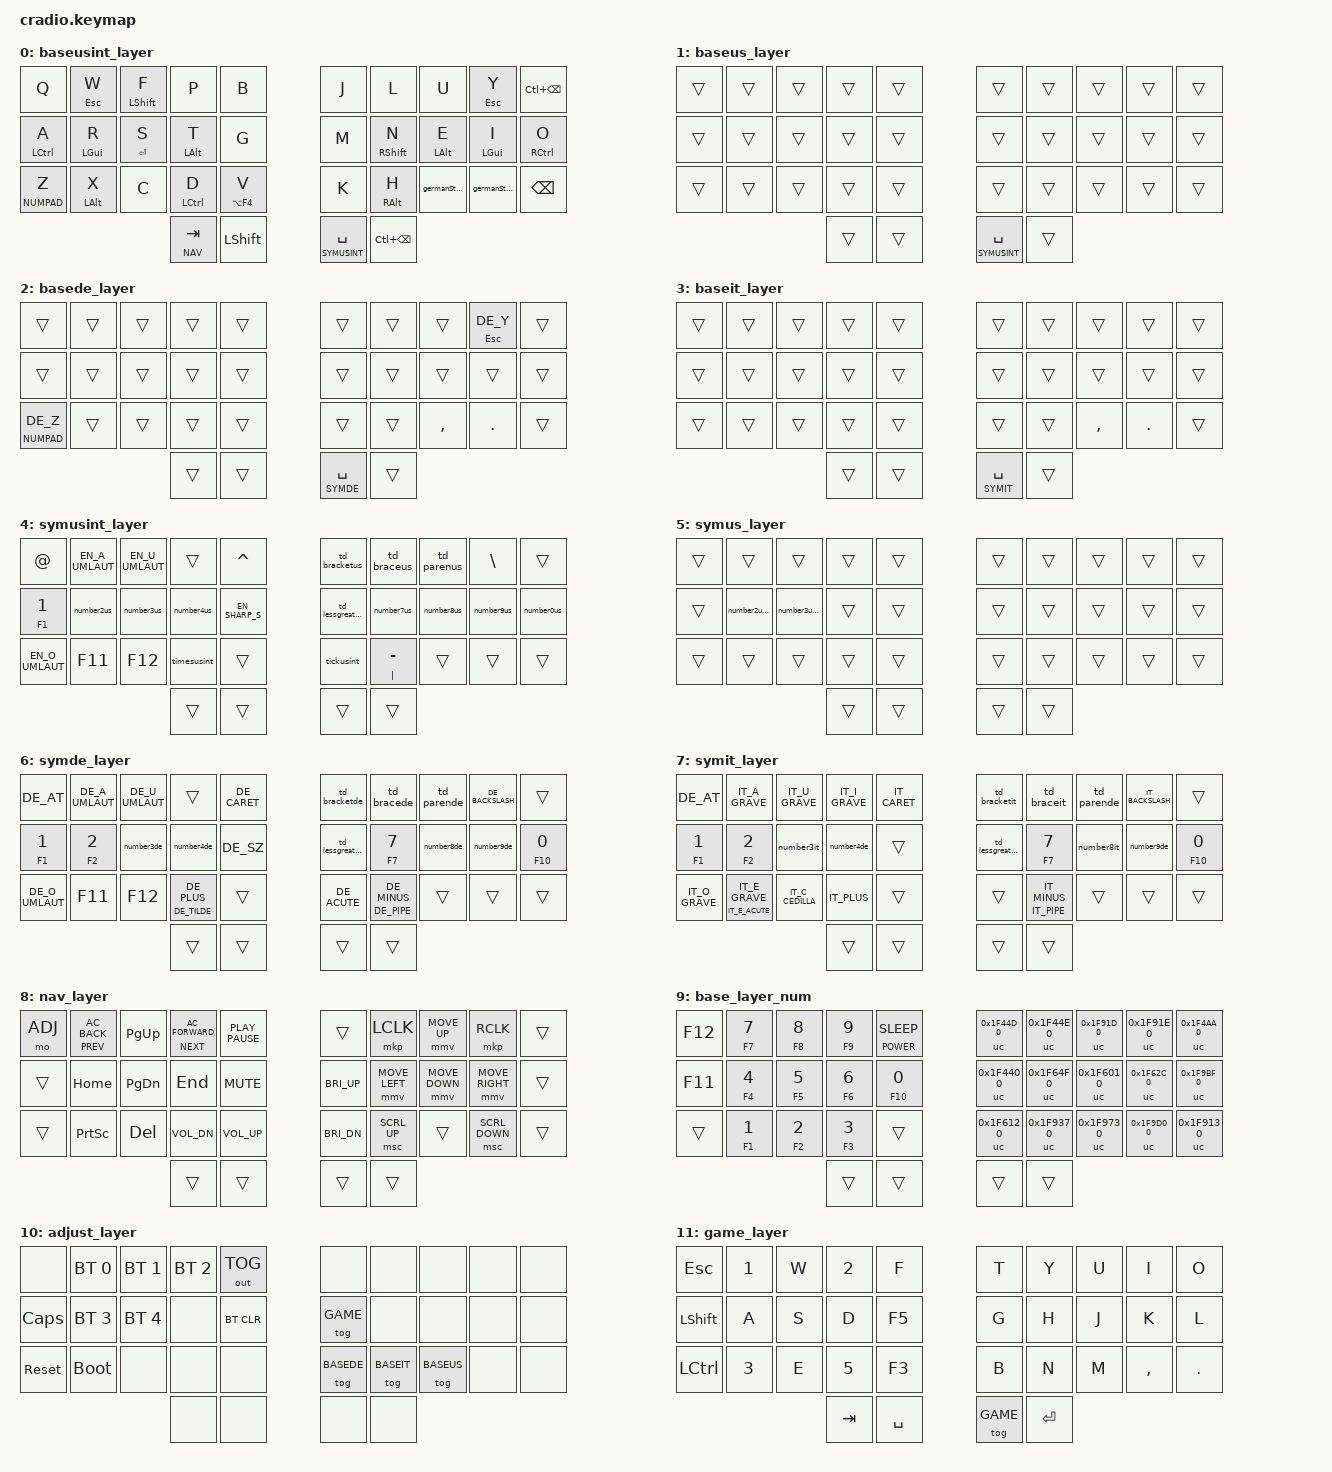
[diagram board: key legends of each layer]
/*
 * Copyright (c) 2020 The ZMK Contributors
 *
 * SPDX-License-Identifier: MIT
 */
#define ZMK_POINTING_DEFAULT_MOVE_VAL 1500  // default: 600

#include <behaviors/mouse_keys.dtsi>
#include <behaviors/unicode.dtsi>            //unicode

#include <dt-bindings/zmk/bt.h>
#include <dt-bindings/zmk/keys.h>
#include <dt-bindings/zmk/mouse.h>
#include <dt-bindings/zmk/outputs.h>
#include <dt-bindings/zmk/ext_power.h>

#include <behaviors.dtsi>

#include "keys_de.h"
#include "keys_it.h"
#include "keys_us_international.h"


#include <zmk-unicode/keys-full.h>   // All glyphs including CJK
&uc {
  default-mode = <UC_MODE_LINUX>;  // Default to Linux input system
  minimum-length = <0>;            // Set to desired minimum input length
  linux-key = <LC(LS(U))>;         // Overwrite Linux compose key
};




#define XXX &none
#define ___ &trans

#define BASEUSINT 0
#define BASEUS 1
#define BASEDE 2
#define BASEIT 3
#define SYMUSINT 4
#define SYMUS 5
#define SYMDE 6
#define SYMIT 7
#define NAV 8
#define NUMPAD 9
#define ADJ 10
#define GAME 11


#define arrowcombotime 10

/ {

            /*                KEY POSITIONS
  ╭────────────────────╮ ╭────────────────────╮
  │  0   1   2   3   4 │ │  5   6   7   8   9 │
  │ 10  11  12  13  14 │ │ 15  16  17  18  19 │
  │ 20  21  22  23  24 │ │ 25  26  27  28  29 │
  ╰───────────╮ 30  31 │ │ 32  33 ╭───────────╯
              ╰────────╯ ╰────────╯            */


    combos {
        compatible = "zmk,combos";
            combo_five {
            timeout-ms = <50>;
            key-positions = <3 13>;
            bindings = <&kp N5>;
            layers = <BASEUSINT BASEUS BASEDE BASEIT SYMUSINT SYMUS SYMDE SYMIT>;
        };
            combo_sixde {
            timeout-ms = <50>;
            key-positions = <6 16>;
            bindings = <&kp N6>;
            layers = <BASEDE BASEIT SYMDE SYMIT>;
        };
            combo_sixus {
            timeout-ms = <50>;
            key-positions = <6 16>;
            bindings = <&number6us>; // LS(6)->&
            layers = <BASEUSINT BASEUS SYMUSINT SYMUS>;
        };
            combo_up {
            timeout-ms = <arrowcombotime>;
            key-positions = <11 12 13>;
            bindings = <&kp UP>;
        };
            combo_down {
            timeout-ms = <arrowcombotime>;
            key-positions = <11 13>;
            bindings = <&kp DOWN>;
        };
            combo_right {
            timeout-ms = <arrowcombotime>;
            key-positions = <12 13>;
            bindings = <&kp RIGHT>;
        };
            combo_left {
            timeout-ms = <arrowcombotime>;
            key-positions = <11 12>;
            bindings = <&kp LEFT>;
        };

        combo_uprhand {
            timeout-ms = <arrowcombotime>;
            key-positions = <16 17 18>;
            bindings = <&kp UP>;
        };
            combo_downrhand {
            timeout-ms = <arrowcombotime>;
            key-positions = <16 18>;
            bindings = <&kp DOWN>;
        };
            combo_rightrhand {
            timeout-ms = <arrowcombotime>;
            key-positions = <17 18>;
            bindings = <&kp RIGHT>;
        };
            combo_leftrhand {
            timeout-ms = <arrowcombotime>;
            key-positions = <16 17>;
            bindings = <&kp LEFT>;
        };

            combo_sqtus {
            timeout-ms = <10>;
            key-positions = <2 12>;
            layers = <BASEUS SYMUS>;
            bindings = <&kp SQT>;
        };
            combo_sqtusint {
            timeout-ms = <10>;
            key-positions = <2 12>;
            layers  = <BASEUSINT SYMUSINT>;
            bindings = <&sqtspace>;
        };
            combo_sqtde {
            timeout-ms = <10>;
            key-positions = <2 12>;
            layers = <BASEDE SYMDE>;
            bindings = <&kp DE_SQT>;
        };
            combo_sqtit {
            timeout-ms = <10>;
            key-positions = <2 12>;
            layers = <BASEIT SYMIT>;
            bindings = <&kp IT_SQT>;
        };

    };


            //US base inherits from us int layer. Most stays except ' "
            // instead of that we can also just copy all the stuff that could be the same likeh we do it in the italian layer.
            // There we use some german numbers in SYMIT. Both approaches are possible and valid.
            // "When configured as a then-layer, a layer's activation status is entirely controlled by the conditional layers"
    conditional_layers {
        compatible = "zmk,conditional-layers";
        tri_layer {
            if-layers = <BASEUS SYMUSINT>;
            then-layer = <SYMUS>;
        };
    };



//macros

macros {
            //[]
    bracketde: bracketde {
    compatible = "zmk,behavior-macro";
    #binding-cells = <0>;
    bindings
        = <&macro_tap &kp DE_LEFT_BRACKET &kp DE_RIGHT_BRACKET &kp LEFT>
        ;
    };
            //{}
    bracede: bracede {
    compatible = "zmk,behavior-macro";
    #binding-cells = <0>;
    bindings
        = <&macro_tap &kp DE_LEFT_BRACE &kp DE_RIGHT_BRACE &kp LEFT>
        ;
    };
            //()
    parende: parende {
    compatible = "zmk,behavior-macro";
    #binding-cells = <0>;
    bindings
        = <&macro_tap &kp DE_LEFT_PARENTHESIS &kp DE_RIGHT_PARENTHESIS &kp LEFT>
        ;
    };
            //<>
    lessgreaterde: lessgreaterde {
    compatible = "zmk,behavior-macro";
    #binding-cells = <0>;
    bindings
        = <&macro_tap &kp DE_LESS_THAN &kp DE_GREATER_THAN &kp LEFT>
        ;
    };
            //[]
    bracketus: bracketus {
    compatible = "zmk,behavior-macro";
    #binding-cells = <0>;
    bindings
        = <&macro_tap &kp LEFT_BRACKET &kp RIGHT_BRACKET &kp LEFT>
        ;
    };
            //{}
    braceus: braceus {
    compatible = "zmk,behavior-macro";
    #binding-cells = <0>;
    bindings
        = <&macro_tap &kp LEFT_BRACE &kp RIGHT_BRACE &kp LEFT>
        ;
    };
            //{}
    braceit: braceit {
    compatible = "zmk,behavior-macro";
    #binding-cells = <0>;
    bindings
        = <&macro_tap &kp IT_LEFT_BRACE &kp IT_RIGHT_BRACE &kp LEFT>
        ;
    };
            //()
    parenus: parenus {
    compatible = "zmk,behavior-macro";
    #binding-cells = <0>;
    bindings
        = <&macro_tap &kp LEFT_PARENTHESIS &kp RIGHT_PARENTHESIS &kp LEFT>
        ;
    };
            //[]
    bracketit: bracketit {
    compatible = "zmk,behavior-macro";
    #binding-cells = <0>;
    bindings
        = <&macro_tap &kp IT_LEFT_BRACKET &kp IT_RIGHT_BRACKET &kp LEFT>
        ;
    };
            //<>
    lessgreaterus: lessgreaterus {
    compatible = "zmk,behavior-macro";
    #binding-cells = <0>;
    bindings
        = <&macro_tap &kp LT &kp GT &kp LEFT>
        ;
    };
            // grave space`
    gravespace: gravespace {
    compatible = "zmk,behavior-macro";
    #binding-cells = <0>;
    bindings 
        = <&macro_tap &kp GRAVE &kp SPC> 
        ;
    };
    sqtspace: sqtspace {
    compatible = "zmk,behavior-macro";
    #binding-cells = <0>;
    bindings 
        = <&macro_tap &kp SQT &kp SPC> 
        ;
    };
    dqtspace: dqtspace {
    compatible = "zmk,behavior-macro";
    #binding-cells = <0>;
    bindings 
        = <&macro_tap &kp DQT &kp SPC> 
        ;
    };


};



 


//mod morph
 
    behaviors {
        //home row mods

        hm: hm {
            compatible = "zmk,behavior-hold-tap";
            #binding-cells = <2>;
            flavor = "tap-preferred";
            tapping-term-ms = <200>;
            quick-tap-ms = <200>;
            global-quick-tap;
            require-prior-idle-ms = <125>;
            bindings = <&kp>, <&kp>;
        };
        hmhold: hmhold {
            compatible = "zmk,behavior-hold-tap";
            #binding-cells = <2>;
            flavor = "hold-preferred";
            tapping-term-ms = <200>;
            bindings = <&mo>, <&kp>;
        };
        //mod morph
            // SL(.)->:
        germanStyleDot: germanStyleDot {
            compatible = "zmk,behavior-mod-morph";
            #binding-cells = <0>;
            bindings = <&kp DOT>, <&kp COLON>;
            mods = <(MOD_LSFT|MOD_RSFT)>;
        };
            // SL(,)->;
        germanStyeComma: germanStyeComma {
            compatible = "zmk,behavior-mod-morph";
            #binding-cells = <0>;
            bindings = <&kp COMMA>, <&kp SEMICOLON>;
            mods = <(MOD_LSFT|MOD_RSFT)>;
        };

            // German numbers
            //3'
        number3de: number3de {
            compatible = "zmk,behavior-mod-morph";
            #binding-cells = <0>;
            bindings = <&hm F3 N3>, <&kp DE_SQT>;
            mods = <(MOD_LSFT|MOD_RSFT)>;
        };
            //4$
        number4de: number4de {
            compatible = "zmk,behavior-mod-morph";
            #binding-cells = <0>;
            bindings = <&hm F4 N4>, <&hm DE_EURO DE_DOLLAR>;
            mods = <(MOD_LSFT|MOD_RSFT)>;
        };
            //8#
        number8de: number8de {
            compatible = "zmk,behavior-mod-morph";
            #binding-cells = <0>;
            bindings = <&hm F8 N8>, <&kp DE_HASH>;
            mods = <(MOD_LSFT|MOD_RSFT)>;
        };
            //9?
        number9de: number9de {
            compatible = "zmk,behavior-mod-morph";
            #binding-cells = <0>;
            bindings = <&hm F9 N9>, <&kp DE_QMARK>;
            mods = <(MOD_LSFT|MOD_RSFT)>;
        };

            // US Numbers
            //2"
        number2us: number2us {
            compatible = "zmk,behavior-mod-morph";
            #binding-cells = <0>;
            bindings = <&hm F2 N2>, <&dqtspace>;
            mods = <(MOD_LSFT|MOD_RSFT)>;
        };
            //2"
        number2usbase: number2usbase{
            compatible = "zmk,behavior-mod-morph";
            #binding-cells = <0>;
            bindings = <&hm F2 N2>, <&kp DQT>;
            mods = <(MOD_LSFT|MOD_RSFT)>;
        };
            //3'
        number3us: number3us {
            compatible = "zmk,behavior-mod-morph";
            #binding-cells = <0>;
            bindings = <&hm F3 N3>, <&sqtspace>;
            mods = <(MOD_LSFT|MOD_RSFT)>;
        };
            //3'
        number3usbase: number3usbase{
            compatible = "zmk,behavior-mod-morph";
            #binding-cells = <0>;
            bindings = <&hm F3 N3>, <&kp SQT>;
            mods = <(MOD_LSFT|MOD_RSFT)>;
        };
            //4$
        number4us: number4us {
            compatible = "zmk,behavior-mod-morph";
            #binding-cells = <0>;
            bindings = <&hm F4 N4>, <&hm EN_EURO DOLLAR>;
            mods = <(MOD_LSFT|MOD_RSFT)>;
        };
            //6&
        number6us: number6us {
            compatible = "zmk,behavior-mod-morph";
            #binding-cells = <0>;
            bindings = <&hm F6 N6>, <&kp AMPS>;
            mods = <(MOD_LSFT|MOD_RSFT)>;
        };
            //7/
        number7us: number7us {
            compatible = "zmk,behavior-mod-morph";
            #binding-cells = <0>;
            bindings = <&hm F7 N7>, <&kp SLASH>;
            mods = <(MOD_LSFT|MOD_RSFT)>;
        };
            //8#
        number8us: number8us {
            compatible = "zmk,behavior-mod-morph";
            #binding-cells = <0>;
            bindings = <&hm F8 N8>, <&kp HASH>;
            mods = <(MOD_LSFT|MOD_RSFT)>;
        };

            //9?
        number9us: number9us {
            compatible = "zmk,behavior-mod-morph";
            #binding-cells = <0>;
            bindings = <&hm F9 N9>, <&kp QMARK>;
            mods = <(MOD_LSFT|MOD_RSFT)>;
        };
            // 0=
        number0us: number0us {
            compatible = "zmk,behavior-mod-morph";
            #binding-cells = <0>;
            bindings = <&hm F10 N0>, <&kp EQUAL>;
            mods = <(MOD_LSFT|MOD_RSFT)>;
        };
            // Italian shares some with german
           //3'
        number3it: number3it {
            compatible = "zmk,behavior-mod-morph";
            #binding-cells = <0>;
            bindings = <&hm F3 N3>, <&kp IT_SQT >;
            mods = <(MOD_LSFT|MOD_RSFT)>;
        };
            //8#
        number8it: number8it {
            compatible = "zmk,behavior-mod-morph";
            #binding-cells = <0>;
            bindings = <&hm F8 N8>, <&kp IT_HASH>;
            mods = <(MOD_LSFT|MOD_RSFT)>;
        };
            // ´`
        tickusint: tickusint {
            compatible = "zmk,behavior-mod-morph";
            #binding-cells = <0>;
            bindings = <&kp EN_ACUTE>, <&kp EN_GRAVE>;
            mods = <(MOD_LSFT|MOD_RSFT)>;
        };
            // ~+ *
        timesusint: timesusint {
            compatible = "zmk,behavior-mod-morph";
            #binding-cells = <0>;
            bindings = <&hm TILDE PLUS>, <&kp STAR>;
            mods = <(MOD_LSFT|MOD_RSFT)>;
        };
            // US
            //{}
        td_braceus: td_braceus {
            compatible = "zmk,behavior-tap-dance";
            #binding-cells = <0>;
            tapping-term-ms = <200>;
            bindings = <&hm RIGHT_BRACE LEFT_BRACE>, <&braceus>;
        };
            //()
        td_parenus: td_parenus {
            compatible = "zmk,behavior-tap-dance";
            #binding-cells = <0>;
            tapping-term-ms = <200>;
            bindings = <&hm RIGHT_PARENTHESIS LEFT_PARENTHESIS>, <&parenus>;
        };

            //[
        td_bracketus: td_bracketus {
            compatible = "zmk,behavior-tap-dance";
            #binding-cells = <0>;
            tapping-term-ms = <200>;
            bindings = <&hm RIGHT_BRACKET LEFT_BRACKET>, <&bracketus>;
        };

            //<>
        td_lessgreaterus: td_lessgreaterus {
            compatible = "zmk,behavior-tap-dance";
            #binding-cells = <0>;
            tapping-term-ms = <200>;
            bindings = <&hm GT LT>, <&lessgreaterus>;
        };

            // German
            // <>
        td_lessgreaterde: td_lessgreaterde {
            compatible = "zmk,behavior-tap-dance";
            #binding-cells = <0>;
            tapping-term-ms = <200>;
            bindings = <&hm DE_GT DE_LT>, <&lessgreaterde>;
        };

            //[]
        td_bracketde: td_bracketde {
            compatible = "zmk,behavior-tap-dance";
            #binding-cells = <0>;
            tapping-term-ms = <200>;
            bindings = <&hm DE_RIGHT_BRACKET DE_LEFT_BRACKET>, <&bracketde>;
        };

            //{}
        td_bracede: td_bracede {
            compatible = "zmk,behavior-tap-dance";
            #binding-cells = <0>;
            tapping-term-ms = <200>;
            bindings = <&hm DE_RIGHT_BRACE DE_LEFT_BRACE>, <&bracede>;
        };
            //()
        td_parende: td_parende {
            compatible = "zmk,behavior-tap-dance";
            #binding-cells = <0>;
            tapping-term-ms = <200>;
            bindings = <&hm DE_RIGHT_PARENTHESIS DE_LEFT_PARENTHESIS>, <&parende>;
        };

            // Italian is partly similar to german
            //[]
        td_bracketit: td_bracketit {
            compatible = "zmk,behavior-tap-dance";
            #binding-cells = <0>;
            tapping-term-ms = <200>;
            bindings = <&hm IT_RIGHT_BRACKET IT_LEFT_BRACKET>, <&bracketit>;
        };

            //{}
        td_braceit: td_braceit {
            compatible = "zmk,behavior-tap-dance";
            #binding-cells = <0>;
            tapping-term-ms = <200>;
            bindings = <&hm IT_RIGHT_BRACE IT_LEFT_BRACE>, <&braceit>;
        };


    };








  keymap {
    compatible = "zmk,keymap";

    baseusint_layer {
      bindings = <
        // ╭─────────────┬─────────────┬─────────────┬─────────────┬─────────────╮   ╭─────────────┬─────────────┬─────────────┬─────────────┬─────────────╮
                 &kp Q      &hm ESC W    &hm LSHIFT F    &kp P         &kp B             &kp J          &kp L        &kp U       &hm ESC Y  &kp LC(BSPC)
        // ├─────────────┼─────────────┼─────────────┼─────────────┼─────────────┤   ├─────────────┼─────────────┼─────────────┼─────────────┼─────────────┤
            &hm LCTRL A     &hm LGUI R    &hm RET S    &hm LALT T      &kp G         &kp M       &hm RSHFT N   &hm LALT E    &hm LGUI I    &hm RCTRL O
        // ├─────────────┼─────────────┼─────────────┼─────────────┼─────────────┤   ├─────────────┼─────────────┼─────────────┼─────────────┼─────────────┤
          &lt NUMPAD Z   &hm LALT X      &kp C      &hm LCTRL D   &hm LA(F4) V        &kp K       &hm RALT H    &germanStyeComma &germanStyleDot &kp BSPC
        // ╰─────────────┴─────────────┴─────────────┼─────────────┼─────────────┤   ├─────────────┼─────────────┼─────────────┴─────────────┴─────────────╯
                                                       &hmhold NAV TAB   &kp LSHFT    &lt SYMUSINT SPC &kp LC(BSPC)
        //                                           ╰─────────────┴─────────────╯   ╰─────────────┴─────────────╯
      >;
    };

    baseus_layer {
      bindings = <
        // ╭─────────────┬─────────────┬─────────────┬─────────────┬─────────────╮   ╭─────────────┬─────────────┬─────────────┬─────────────┬─────────────╮
                 ___           ___           ___           ___           ___               ___           ___           ___           ___           ___
        // ├─────────────┼─────────────┼─────────────┼─────────────┼─────────────┤   ├─────────────┼─────────────┼─────────────┼─────────────┼─────────────┤
                 ___           ___           ___           ___           ___               ___           ___           ___           ___           ___
        // ├─────────────┼─────────────┼─────────────┼─────────────┼─────────────┤   ├─────────────┼─────────────┼─────────────┼─────────────┼─────────────┤
                 ___           ___           ___           ___           ___               ___           ___           ___           ___           ___
        // ╰─────────────┴─────────────┴─────────────┼─────────────┼─────────────┤   ├─────────────┼─────────────┼─────────────┴─────────────┴─────────────╯
                                                           ___           ___        &lt SYMUSINT SPC     ___
        //                                           ╰─────────────┴─────────────╯   ╰─────────────┴─────────────╯
      >;
    };

    basede_layer {
      bindings = <
        // ╭─────────────┬─────────────┬─────────────┬─────────────┬─────────────╮   ╭─────────────┬─────────────┬─────────────┬─────────────┬─────────────╮
                 ___           ___           ___           ___           ___               ___           ___           ___       &hm ESC DE_Y      ___
        // ├─────────────┼─────────────┼─────────────┼─────────────┼─────────────┤   ├─────────────┼─────────────┼─────────────┼─────────────┼─────────────┤
                 ___           ___           ___           ___           ___               ___           ___           ___           ___           ___
        // ├─────────────┼─────────────┼─────────────┼─────────────┼─────────────┤   ├─────────────┼─────────────┼─────────────┼─────────────┼─────────────┤
            &lt NUMPAD DE_Z    ___           ___           ___           ___               ___           ___        &kp COMMA       &kp DOT        ___
        // ╰─────────────┴─────────────┴─────────────┼─────────────┼─────────────┤   ├─────────────┼─────────────┼─────────────┴─────────────┴─────────────╯
                                                           ___           ___           &lt SYMDE SPC     ___
        //                                           ╰─────────────┴─────────────╯   ╰─────────────┴─────────────╯
      >;
    };
        
    
    baseit_layer {
      bindings = <
        // ╭─────────────┬─────────────┬─────────────┬─────────────┬─────────────╮   ╭─────────────┬─────────────┬─────────────┬─────────────┬─────────────╮
                 ___           ___           ___           ___           ___               ___           ___           ___           ___           ___
        // ├─────────────┼─────────────┼─────────────┼─────────────┼─────────────┤   ├─────────────┼─────────────┼─────────────┼─────────────┼─────────────┤
                 ___           ___           ___           ___           ___               ___           ___           ___           ___           ___
        // ├─────────────┼─────────────┼─────────────┼─────────────┼─────────────┤   ├─────────────┼─────────────┼─────────────┼─────────────┼─────────────┤
                 ___           ___           ___           ___           ___               ___           ___        &kp COMMA       &kp DOT        ___
        // ╰─────────────┴─────────────┴─────────────┼─────────────┼─────────────┤   ├─────────────┼─────────────┼─────────────┴─────────────┴─────────────╯
                                                           ___           ___           &lt SYMIT SPC     ___
        //                                           ╰─────────────┴─────────────╯   ╰─────────────┴─────────────╯
      >;
    };
      symusint_layer {
      bindings = <
        // ╭─────────────┬─────────────┬─────────────┬─────────────┬─────────────╮   ╭─────────────┬─────────────┬─────────────┬─────────────┬─────────────╮
               &kp AT    &kp EN_A_UMLAUT &kp EN_U_UMLAUT    ___      &kp CARET      &td_bracketus   &td_braceus     &td_parenus     &kp BACKSLASH     ___
        // ├─────────────┼─────────────┼─────────────┼─────────────┼─────────────┤   ├─────────────┼─────────────┼─────────────┼─────────────┼─────────────┤
               &hm F1 N1   &number2us    &number3us     &number4us   &kp EN_SHARP_S &td_lessgreaterus &number7us    &number8us   &number9us     &number0us
        // ├─────────────┼─────────────┼─────────────┼─────────────┼─────────────┤   ├─────────────┼─────────────┼─────────────┼─────────────┼─────────────┤
            &kp EN_O_UMLAUT &kp F11        &kp F12   &timesusint         ___          &tickusint   &hm PIPE MINUS     ___           ___           ___
        // ╰─────────────┴─────────────┴─────────────┼─────────────┼─────────────┤   ├─────────────┼─────────────┼─────────────┴─────────────┴─────────────╯
                                                           ___           ___               ___          ___
        //                                           ╰─────────────┴─────────────╯   ╰─────────────┴─────────────╯
      >;
    };

      symus_layer {
      bindings = <
        // ╭─────────────┬─────────────┬─────────────┬─────────────┬─────────────╮   ╭─────────────┬─────────────┬─────────────┬─────────────┬─────────────╮
                 ___            ___          ___           ___           ___               ___           ___           ___           ___           ___
        // ├─────────────┼─────────────┼─────────────┼─────────────┼─────────────┤   ├─────────────┼─────────────┼─────────────┼─────────────┼─────────────┤
                 ___     &number2usbase &number3usbase     ___           ___               ___           ___           ___           ___           ___
        // ├─────────────┼─────────────┼─────────────┼─────────────┼─────────────┤   ├─────────────┼─────────────┼─────────────┼─────────────┼─────────────┤
                 ___            ___          ___           ___           ___               ___           ___           ___           ___           ___
        // ╰─────────────┴─────────────┴─────────────┼─────────────┼─────────────┤   ├─────────────┼─────────────┼─────────────┴─────────────┴─────────────╯
                                                           ___           ___               ___          ___
        //                                           ╰─────────────┴─────────────╯   ╰─────────────┴─────────────╯
      >;
    };
    symde_layer {
      bindings = <
        // ╭─────────────┬─────────────┬─────────────┬─────────────┬─────────────╮   ╭─────────────┬─────────────┬─────────────┬─────────────┬─────────────╮
            &kp DE_AT   &kp DE_A_UMLAUT &kp DE_U_UMLAUT    ___      &kp DE_CARET   &td_bracketde &td_bracede &td_parende &kp DE_BACKSLASH    ___
        // ├─────────────┼─────────────┼─────────────┼─────────────┼─────────────┤   ├─────────────┼─────────────┼─────────────┼─────────────┼─────────────┤
               &hm F1 N1   &hm F2 N2    &number3de        &number4de    &kp DE_SZ   &td_lessgreaterde &hm F7 N7 &number8de   &number9de     &hm F10 N0
        // ├─────────────┼─────────────┼─────────────┼─────────────┼─────────────┤   ├─────────────┼─────────────┼─────────────┼─────────────┼─────────────┤
        &kp DE_O_UMLAUT      &kp F11       &kp F12  &hm DE_TILDE DE_PLUS ___          &kp DE_ACUTE &hm DE_PIPE DE_MINUS ___           ___           ___
        // ╰─────────────┴─────────────┴─────────────┼─────────────┼─────────────┤   ├─────────────┼─────────────┼─────────────┴─────────────┴─────────────╯
                                                           ___           ___               ___          ___
        //                                           ╰─────────────┴─────────────╯   ╰─────────────┴─────────────╯
      >;
    };

    symit_layer {
      bindings = <
        // ╭─────────────┬─────────────┬─────────────┬─────────────┬─────────────╮   ╭─────────────┬─────────────┬─────────────┬─────────────┬─────────────╮
            &kp DE_AT   &kp IT_A_GRAVE  &kp IT_U_GRAVE  &kp IT_I_GRAVE  &kp IT_CARET &td_bracketit &td_braceit &td_parende  &kp IT_BACKSLASH     ___
        // ├─────────────┼─────────────┼─────────────┼─────────────┼─────────────┤   ├─────────────┼─────────────┼─────────────┼─────────────┼─────────────┤
               &hm F1 N1   &hm F2 N2    &number3it     &number4de    ___   &td_lessgreaterde   &hm F7 N7    &number8it    &number9de     &hm F10 N0
        // ├─────────────┼─────────────┼─────────────┼─────────────┼─────────────┤   ├─────────────┼─────────────┼─────────────┼─────────────┼─────────────┤
        &kp IT_O_GRAVE &hm IT_E_ACUTE IT_E_GRAVE &kp IT_C_CEDILLA &kp IT_PLUS ___          ___ &hm IT_PIPE IT_MINUS ___           ___           ___
        // ╰─────────────┴─────────────┴─────────────┼─────────────┼─────────────┤   ├─────────────┼─────────────┼─────────────┴─────────────┴─────────────╯
                                                           ___           ___               ___          ___
        //                                           ╰─────────────┴─────────────╯   ╰─────────────┴─────────────╯
      >;
    };



    nav_layer {
      bindings = <
        // ╭─────────────┬─────────────┬─────────────┬─────────────┬─────────────╮   ╭─────────────┬─────────────┬─────────────┬─────────────┬─────────────╮
               &mo ADJ &hm C_PREV C_AC_BACK &kp PG_UP &hm C_NEXT C_AC_FORWARD &kp K_PLAY_PAUSE ___   &mkp LCLK    &mmv MOVE_UP    &mkp RCLK        ___           
        // ├─────────────┼─────────────┼─────────────┼─────────────┼─────────────┤   ├─────────────┼─────────────┼─────────────┼─────────────┼─────────────┤
                 ___        &kp HOME      &kp PG_DN      &kp END      &kp C_MUTE       &kp C_BRI_UP &mmv MOVE_LEFT &mmv MOVE_DOWN  &mmv MOVE_RIGHT ___
        // ├─────────────┼─────────────┼─────────────┼─────────────┼─────────────┤   ├─────────────┼─────────────┼─────────────┼─────────────┼─────────────┤
                 ___         &kp PSCRN     &kp DEL     &kp C_VOL_DN  &kp C_VOL_UP      &kp C_BRI_DN  &msc SCRL_UP      ___      &msc SCRL_DOWN     ___
        // ╰─────────────┴─────────────┴─────────────┼─────────────┼─────────────┤   ├─────────────┼─────────────┼─────────────┴─────────────┴─────────────╯
                                                           ___           ___               ___           ___
        //                                           ╰─────────────┴─────────────╯   ╰─────────────┴─────────────╯
      >;
    };


    base_layer_num {
      bindings = <
        // ╭─────────────┬─────────────┬─────────────┬─────────────┬─────────────╮   ╭─────────────┬─────────────┬─────────────┬─────────────┬─────────────╮
               &kp F12      &hm F7 N7     &hm F8 N8    &hm F9 N9  &hm C_POWER C_SLEEP &uc 0x1F44D 0 &uc 0x1F44E 0 &uc 0x1F91D 0 &uc 0x1F91E 0 &uc 0x1F4AA 0
//                                                                                         👍            👎            🤝            🤞          💪
        // ├─────────────┼─────────────┼─────────────┼─────────────┼─────────────┤   ├─────────────┼─────────────┼─────────────┼─────────────┼─────────────┤
               &kp F11      &hm F4 N4     &hm F5 N5    &hm F6 N6     &hm F10 N0       &uc 0x1F440 0 &uc 0x1F64F 0 &uc 0x1F601 0 &uc 0x1F62C 0 &uc 0x1F9BF 0
//                                                                                         👀            🙏            😁            😬            🦿
        // ├─────────────┼─────────────┼─────────────┼─────────────┼─────────────┤   ├─────────────┼─────────────┼─────────────┼─────────────┼─────────────┤
                 ___        &hm F1 N1     &hm F2 N2    &hm F3 N3         ___          &uc 0x1F612 0 &uc 0x1F937 0 &uc 0x1F973 0 &uc 0x1F9D0 0  &uc 0x1F913 0
//                                                                                          😒           🤷            🥳            🧐             🤓 
        // ╰─────────────┴─────────────┴─────────────┼─────────────┼─────────────┤   ├─────────────┼─────────────┼─────────────┴─────────────┴─────────────╯
                                                           ___           ___               ___           ___
        //                                           ╰─────────────┴─────────────╯   ╰─────────────┴─────────────╯
      >;
    };

    adjust_layer {
      bindings = <
        // ╭─────────────┬─────────────┬─────────────┬─────────────┬─────────────╮   ╭─────────────┬─────────────┬─────────────┬─────────────┬─────────────╮
                 XXX       &bt BT_SEL 0 &bt BT_SEL 1 &bt BT_SEL 2   &out OUT_TOG           XXX           XXX           XXX           XXX           XXX
        // ├─────────────┼─────────────┼─────────────┼─────────────┼─────────────┤   ├─────────────┼─────────────┼─────────────┼─────────────┼─────────────┤
              &kp CAPS     &bt BT_SEL 3 &bt BT_SEL 4       XXX        &bt BT_CLR       &tog GAME         XXX           XXX           XXX           XXX
        // ├─────────────┼─────────────┼─────────────┼─────────────┼─────────────┤   ├─────────────┼─────────────┼─────────────┼─────────────┼─────────────┤
            &sys_reset     &bootloader       XXX           XXX           XXX           &tog BASEDE   &tog BASEIT  &tog BASEUS        XXX           XXX
        // ╰─────────────┴─────────────┴─────────────┼─────────────┼─────────────┤   ├─────────────┼─────────────┼─────────────┴─────────────┴─────────────╯
                                                           XXX           XXX               XXX           XXX
        //                                           ╰─────────────┴─────────────╯   ╰─────────────┴─────────────╯
      >;
    };
game_layer {
  bindings = <
    // ╭─────────────┬─────────────┬─────────────┬─────────────┬─────────────╮   ╭─────────────┬─────────────┬─────────────┬─────────────┬─────────────╮
            &kp ESC       &kp N1        &kp W         &kp N2         &kp F         &kp T             &kp Y         &kp U         &kp I        &kp O      
    // ├─────────────┼─────────────┼─────────────┼─────────────┼─────────────┤   ├─────────────┼─────────────┼─────────────┼─────────────┼─────────────┤
          &kp LSHFT       &kp A        &kp S         &kp D         &kp F5         &kp G             &kp H         &kp J         &kp K        &kp L                 
    // ├─────────────┼─────────────┼─────────────┼─────────────┼─────────────┤   ├─────────────┼─────────────┼─────────────┼─────────────┼─────────────┤
           &kp LCTRL      &kp N3        &kp E         &kp N5         &kp F3              &kp B       &kp N         &kp M         &kp COMMA    &kp DOT   
    // ╰─────────────┴─────────────┴─────────────┼─────────────┼─────────────┤   ├─────────────┼─────────────┼─────────────┴─────────────┴─────────────╯
                                                 &kp TAB      &kp SPACE        &tog GAME     &kp ENTER
    //                                           ╰─────────────┴─────────────╯   ╰─────────────┴─────────────╯
  >;
};


  };
};
